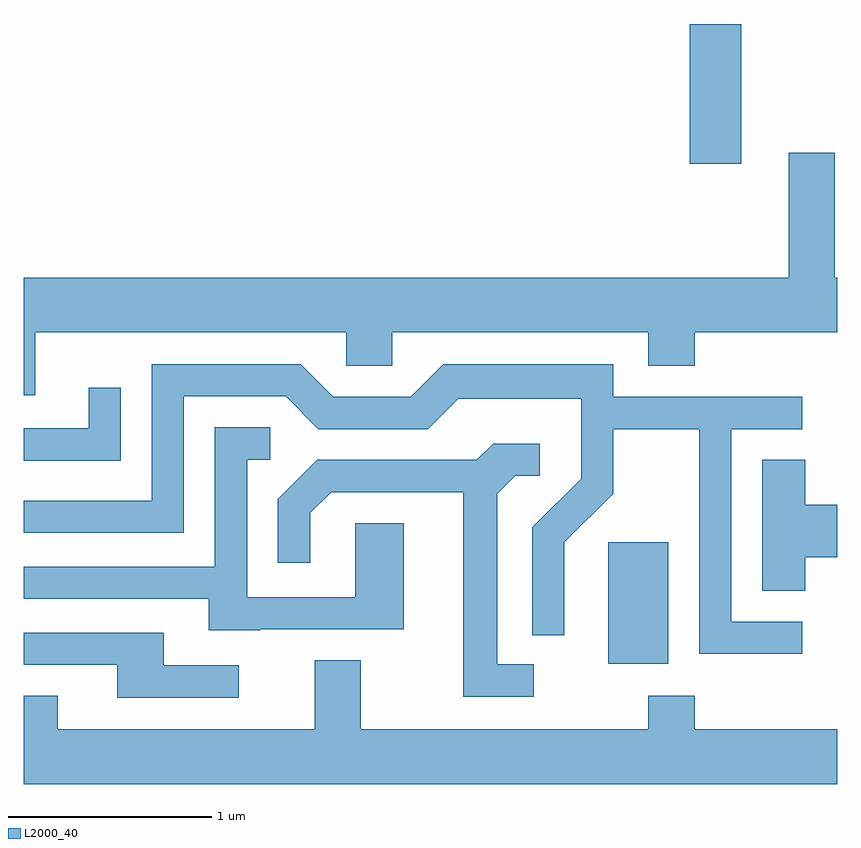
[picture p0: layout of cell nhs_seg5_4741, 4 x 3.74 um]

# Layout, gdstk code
import gdstk
lib = gdstk.Library(unit=1e-6, precision=1e-09)
def R(c, l, rs):  # rectangles x0, y0, x1, y1
    for r in rs: c.add(gdstk.rectangle(r[:2], r[2:], *l))
def P(c, l, *ps):  # polygons
    for p in ps: c.add(gdstk.Polygon(p, *l))
L2000_40 = (2000, 40)

nhs_seg5_4741 = lib.new_cell('nhs_seg5_4741')
R(nhs_seg5_4741, L2000_40, [(328.486,1472.926,328.779,1473.524), (328.886,1475.386,329.139,1476.072)])
P(nhs_seg5_4741, L2000_40, [(329.371,1475.439),(329.371,1474.824),(325.611,1474.824),(325.611,1474.246),(325.669,1474.246),(325.669,1474.556),(327.196,1474.556),(327.196,1474.391),(327.424,1474.391),(327.424,1474.556),(328.681,1474.556),(328.681,1474.391),(328.909,1474.391),(328.909,1474.556),(329.611,1474.556),(329.611,1474.824),(329.599,1474.824),(329.599,1475.439)],
  [(329.438,1473.134),(329.089,1473.134),(329.089,1474.081),(329.438,1474.081),(329.438,1474.239),(328.509,1474.239),(328.509,1474.399),(327.674,1474.399),(327.514,1474.239),(327.132,1474.239),(326.972,1474.399),(326.241,1474.399),(326.241,1473.729),(325.611,1473.729),(325.611,1473.571),(326.399,1473.571),(326.399,1474.241),(326.899,1474.241),(327.059,1474.081),(327.597,1474.081),(327.747,1474.231),(328.351,1474.231),(328.351,1473.837),(328.111,1473.597),(328.111,1473.068),(328.269,1473.068),(328.269,1473.524),(328.509,1473.764),(328.509,1474.081),(328.931,1474.081),(328.931,1472.976),(329.438,1472.976)],
  [(326.089,1474.283),(325.931,1474.283),(325.931,1474.084),(325.611,1474.084),(325.611,1473.926),(326.089,1473.926)],
  [(326.775,1473.096),(327.479,1473.096),(327.479,1473.619),(327.241,1473.619),(327.241,1473.254),(326.709,1473.254),(326.709,1473.931),(326.823,1473.931),(326.823,1474.089),(326.551,1474.089),(326.551,1473.404),(325.611,1473.404),(325.611,1473.246),(326.521,1473.246),(326.521,1473.091),(326.775,1473.091)],
  [(328.118,1472.924),(327.939,1472.924),(327.939,1473.764),(328.027,1473.851),(328.148,1473.851),(328.148,1474.009),(327.919,1474.009),(327.839,1473.929),(327.054,1473.929),(326.861,1473.737),(326.861,1473.423),(327.019,1473.423),(327.019,1473.669),(327.122,1473.771),(327.771,1473.771),(327.771,1472.766),(328.118,1472.766)],
  [(329.454,1473.451),(329.611,1473.451),(329.611,1473.709),(329.454,1473.709),(329.454,1473.929),(329.241,1473.929),(329.241,1473.286),(329.454,1473.286)],
  [(326.668,1472.919),(326.299,1472.919),(326.299,1473.079),(325.611,1473.079),(325.611,1472.921),(326.071,1472.921),(326.071,1472.761),(326.668,1472.761)],
  [(329.611,1472.604),(328.909,1472.604),(328.909,1472.769),(328.681,1472.769),(328.681,1472.604),(327.269,1472.604),(327.269,1472.944),(327.041,1472.944),(327.041,1472.604),(325.779,1472.604),(325.779,1472.769),(325.611,1472.769),(325.611,1472.336),(329.611,1472.336)])

lib.write_gds('nhs_seg5_4741.gds')
